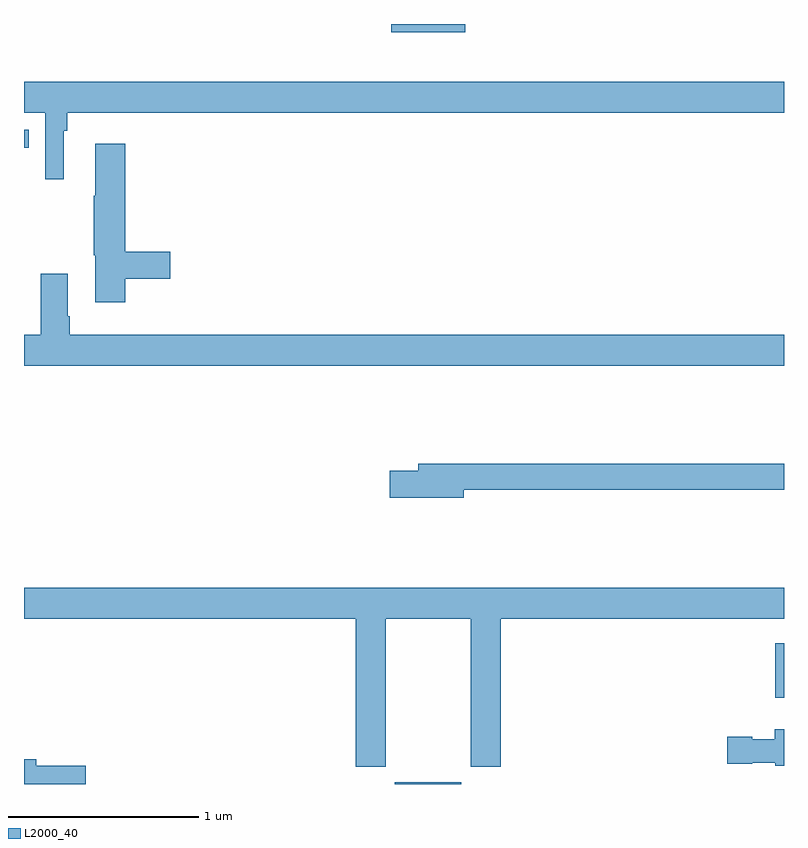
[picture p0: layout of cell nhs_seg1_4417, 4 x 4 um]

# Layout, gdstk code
import gdstk
lib = gdstk.Library(unit=1e-6, precision=1e-09)
def R(c, l, rs):  # rectangles x0, y0, x1, y1
    for r in rs: c.add(gdstk.rectangle(r[:2], r[2:], *l))
def P(c, l, *ps):  # polygons
    for p in ps: c.add(gdstk.Polygon(p, *l))
L2000_40 = (2000, 40)

nhs_seg1_4417 = lib.new_cell('nhs_seg1_4417')
R(nhs_seg1_4417, L2000_40, [(352.952,548.199,353.302,548.209), (354.953,548.654,355,548.941), (351,551.547,351.026,551.643)])
P(nhs_seg1_4417, L2000_40, [(353.323,552.199),(351,552.199),(351,552.198),(352.934,552.198),(352.934,552.155),(353.323,552.155)],
  [(351.208,551.636),(351.227,551.636),(351.227,551.732),(355,551.732),(355,551.896),(351,551.896),(351,551.732),(351.111,551.732),(351.111,551.382),(351.208,551.382)],
  [(351.533,550.858),(351.769,550.858),(351.769,551),(351.533,551),(351.533,551.569),(351.374,551.569),(351.374,551.294),(351.367,551.294),(351.367,550.983),(351.374,550.983),(351.374,550.734),(351.533,550.734)],
  [(355,550.564),(351.242,550.564),(351.242,550.66),(351.229,550.66),(351.229,550.885),(351.089,550.885),(351.089,550.564),(351,550.564),(351,550.4),(355,550.4)],
  [(353.314,549.748),(355,549.748),(355,549.884),(353.075,549.884),(353.075,549.848),(352.926,549.848),(352.926,549.706),(353.314,549.706)],
  [(352.905,549.068),(353.35,549.068),(353.35,548.289),(353.51,548.289),(353.51,549.068),(355,549.068),(355,549.232),(351,549.232),(351,549.068),(352.745,549.068),(352.745,548.289),(352.905,548.289)],
  [(355,548.488),(354.95,548.488),(354.95,548.434),(354.834,548.434),(354.834,548.447),(354.702,548.447),(354.702,548.305),(354.834,548.305),(354.834,548.312),(354.954,548.312),(354.954,548.294),(355,548.294)],
  [(351.325,548.294),(351.064,548.294),(351.064,548.33),(351,548.33),(351,548.199),(351.325,548.199)])

lib.write_gds('nhs_seg1_4417.gds')
